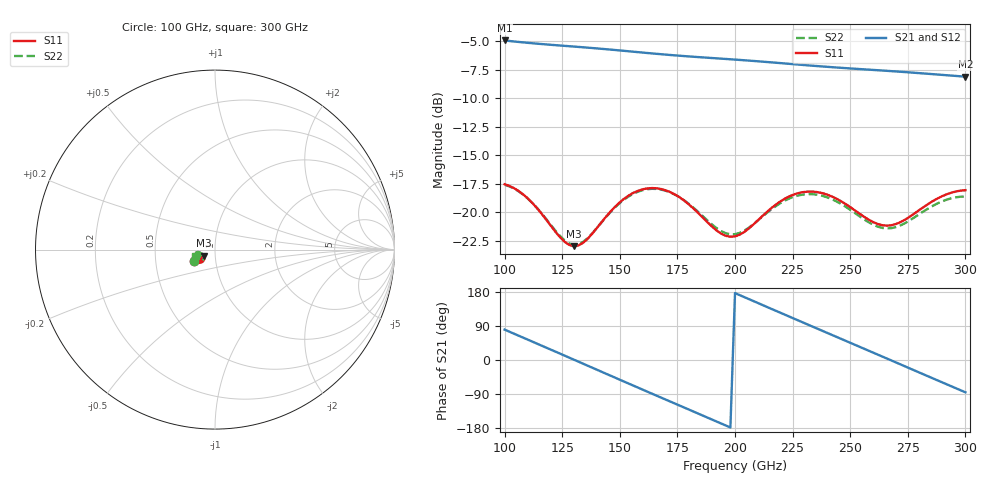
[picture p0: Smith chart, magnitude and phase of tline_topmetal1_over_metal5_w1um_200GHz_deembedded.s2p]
! Created with skrf 2.0.1 (http://scikit-rf.org).
# GHz S DB R 50.0
!freq dBS11 angS11 dBS21 angS21 dBS12 angS12 dBS22 angS22
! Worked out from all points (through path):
!   101 points, 100 GHz to 300 GHz, reference 50 ohm
!   highest |S21| = -4.93 dB at 100 GHz (marker M1); lowest = -8.1 dB at 300 GHz (marker M2)
!   group delay of S21, straight-line fit = 7.3 ps
!   lowest |S11| = -23.0 dB at 130 GHz (marker M3), VSWR 1.15, Z = 44 - j2.95 ohm
!   |S11| at or under -10 dB: start of sweep to end of sweep
!   |S22| runs from -22.9 to -17.6 dB; largest |S21 - S12| = 3e-16
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100  -17.55 -150.2  -4.93 80.2  -4.93 80.2  -17.60 -151.1
108  -18.43 -160.9  -5.10 59.1  -5.10 59.1  -18.45 -161.9
116  -20.12 -166.7  -5.24 38.1  -5.24 38.1  -20.09 -168.0
130  -22.98 -152.0  -5.46 1.1  -5.46 1.1  -22.86 -154.7
134  -22.70 -144.0  -5.52 -9.6  -5.52 -9.6  -22.61 -147.1
142  -20.89 -135.9  -5.66 -30.8  -5.66 -30.8  -20.91 -139.3
152  -18.80 -140.0  -5.84 -57.3  -5.84 -57.3  -18.87 -143.4
160  -17.99 -148.3  -5.99 -78.4  -5.99 -78.4  -18.06 -151.6
168  -17.97 -157.4  -6.14 -99.4  -6.14 -99.4  -18.02 -160.7
176  -18.70 -165.1  -6.27 -120.4  -6.27 -120.4  -18.70 -168.4
186  -20.47 -168.4  -6.41 -146.6  -6.41 -146.6  -20.35 -172.2
200  -22.12 -153.0  -6.61 176.6  -6.61 176.6  -21.93 -159.0
208  -21.08 -143.8  -6.73 155.5  -6.73 155.5  -21.05 -150.8
218  -19.29 -143.5  -6.89 129.2  -6.89 129.2  -19.43 -150.6
226  -18.42 -148.9  -7.02 108.2  -7.02 108.2  -18.61 -155.8
234  -18.20 -155.8  -7.15 87.3  -7.15 87.3  -18.43 -162.7
242  -18.62 -161.9  -7.27 66.4  -7.27 66.4  -18.85 -168.8
252  -19.84 -165.0  -7.41 40.3  -7.41 40.3  -20.07 -172.1
268  -21.14 -152.9  -7.62 -1.6  -7.62 -1.6  -21.40 -161.0
276  -20.38 -146.3  -7.74 -22.5  -7.74 -22.5  -20.70 -154.8
286  -19.01 -145.7  -7.89 -48.7  -7.89 -48.7  -19.43 -154.5
300  -18.07 -153.6  -8.10 -85.2  -8.10 -85.2  -18.63 -162.7
